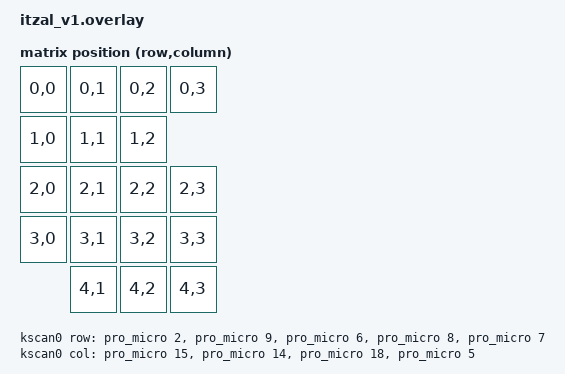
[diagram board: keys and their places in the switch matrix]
#include <dt-bindings/zmk/matrix_transform.h>
#include <physical_layouts.dtsi>

/ {
    chosen {
        zmk,kscan = &kscan0;
        zmk,matrix-transform = &default_transform;
        zmk,physical-layout = &itzal_physical_layout;
    };

    itzal_physical_layout: itzal_physical_layout {
        compatible = "zmk,physical-layout";
        display-name = "Default";
        kscan = <&kscan0>;
        transform = <&default_transform>;
        keys = <
            /* Row 0: 4 keys */
            &key_physical_attrs 100 100 0   0   0 0 0
            &key_physical_attrs 100 100 100 0   0 0 0
            &key_physical_attrs 100 100 200 0   0 0 0
            &key_physical_attrs 100 100 300 0   0 0 0
            /* Row 1: 3 keys (missing col 3) */
            &key_physical_attrs 100 100 0   100 0 0 0
            &key_physical_attrs 100 100 100 100 0 0 0
            &key_physical_attrs 100 100 200 100 0 0 0
            /* Row 2: 4 keys */
            &key_physical_attrs 100 100 0   200 0 0 0
            &key_physical_attrs 100 100 100 200 0 0 0
            &key_physical_attrs 100 100 200 200 0 0 0
            &key_physical_attrs 100 100 300 200 0 0 0
            /* Row 3: 4 keys */
            &key_physical_attrs 100 100 0   300 0 0 0
            &key_physical_attrs 100 100 100 300 0 0 0
            &key_physical_attrs 100 100 200 300 0 0 0
            &key_physical_attrs 100 100 300 300 0 0 0
            /* Row 4: 3 keys (missing col 0) */
            &key_physical_attrs 100 100 100 400 0 0 0
            &key_physical_attrs 100 100 200 400 0 0 0
            &key_physical_attrs 100 100 300 400 0 0 0
        >;
    };

    default_transform: keymap_transform_0 {
        compatible = "zmk,matrix-transform";
        columns = <4>;
        rows = <5>;
        map = <
    RC(0,0) RC(0,1) RC(0,2) RC(0,3)
    RC(1,0) RC(1,1) RC(1,2)
    RC(2,0) RC(2,1) RC(2,2) RC(2,3)
    RC(3,0) RC(3,1) RC(3,2) RC(3,3)
            RC(4,1) RC(4,2) RC(4,3)
        >;
    };

    kscan0: kscan {
        compatible = "zmk,kscan-gpio-matrix";
        diode-direction = "col2row";
        wakeup-source;
        row-gpios
            = <&pro_micro 2 (GPIO_ACTIVE_HIGH | GPIO_PULL_DOWN)>
            , <&pro_micro 9 (GPIO_ACTIVE_HIGH | GPIO_PULL_DOWN)>
            , <&pro_micro 6 (GPIO_ACTIVE_HIGH | GPIO_PULL_DOWN)>
            , <&pro_micro 8 (GPIO_ACTIVE_HIGH | GPIO_PULL_DOWN)>
            , <&pro_micro 7 (GPIO_ACTIVE_HIGH | GPIO_PULL_DOWN)>
            ;
        col-gpios
            = <&pro_micro 15 GPIO_ACTIVE_HIGH>
            , <&pro_micro 14 GPIO_ACTIVE_HIGH>
            , <&pro_micro 18 GPIO_ACTIVE_HIGH>
            , <&pro_micro 5 GPIO_ACTIVE_HIGH>
            ;
    };
};
